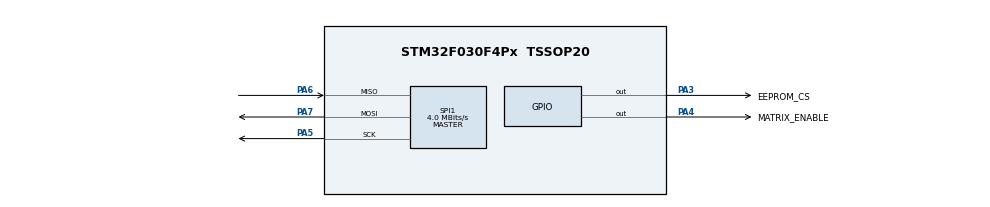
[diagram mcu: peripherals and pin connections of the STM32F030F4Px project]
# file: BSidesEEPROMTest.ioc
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Dma.Request0=SPI1_RX
Dma.Request1=SPI1_TX
Dma.SPI1_RX.0.Direction=DMA_PERIPH_TO_MEMORY
Dma.SPI1_RX.0.Instance=DMA1_Channel2
Dma.SPI1_RX.0.MemDataAlignment=DMA_MDATAALIGN_BYTE
Dma.SPI1_RX.0.MemInc=DMA_MINC_ENABLE
Dma.SPI1_RX.0.Mode=DMA_NORMAL
Dma.SPI1_RX.0.PeriphDataAlignment=DMA_PDATAALIGN_BYTE
Dma.SPI1_RX.0.PeriphInc=DMA_PINC_DISABLE
Dma.SPI1_RX.0.Priority=DMA_PRIORITY_LOW
Dma.SPI1_TX.1.Direction=DMA_MEMORY_TO_PERIPH
Dma.SPI1_TX.1.Instance=DMA1_Channel3
Dma.SPI1_TX.1.MemDataAlignment=DMA_MDATAALIGN_BYTE
Dma.SPI1_TX.1.MemInc=DMA_MINC_ENABLE
Dma.SPI1_TX.1.Mode=DMA_NORMAL
Dma.SPI1_TX.1.PeriphDataAlignment=DMA_PDATAALIGN_BYTE
Dma.SPI1_TX.1.PeriphInc=DMA_PINC_DISABLE
Dma.SPI1_TX.1.Priority=DMA_PRIORITY_LOW
Mcu.Family=STM32F0
Mcu.Name=STM32F030F4Px
Mcu.Package=TSSOP20
NVIC.DMA1_Channel2_3_IRQn=true\:0\:0\:false
PA10.Signal=USART1_RX
PA3.GPIO_Label=EEPROM_CS
PA3.Signal=GPIO_Output
PA4.GPIO_Label=MATRIX_ENABLE
PA4.Signal=GPIO_Output
PA5.Mode=Full_Duplex_Master
PA5.Signal=SPI1_SCK
PA6.Mode=Full_Duplex_Master
PA6.Signal=SPI1_MISO
PA7.Mode=Full_Duplex_Master
PA7.Signal=SPI1_MOSI
PA9.Signal=USART1_TX
ProjectManager.TargetToolchain=MDK-ARM V5
SPI1.CalculateBaudRate=4.0 MBits/s
SPI1.Mode=SPI_MODE_MASTER
board=BSidesEEPROMTest

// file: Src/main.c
/**
  ******************************************************************************
  * File Name          : main.c
  * Description        : Main program body
  ******************************************************************************
  *
  * COPYRIGHT(c) 2016 STMicroelectronics
  *
  * Redistribution and use in source and binary forms, with or without modification,
  * are permitted provided that the following conditions are met:
  *   1. Redistributions of source code must retain the above copyright notice,
  *      this list of conditions and the following disclaimer.
  *   2. Redistributions in binary form must reproduce the above copyright notice,
  *      this list of conditions and the following disclaimer in the documentation
  *      and/or other materials provided with the distribution.
  *   3. Neither the name of STMicroelectronics nor the names of its contributors
  *      may be used to endorse or promote products derived from this software
  *      without specific prior written permission.
  *
  * THIS SOFTWARE IS PROVIDED BY THE COPYRIGHT HOLDERS AND CONTRIBUTORS "AS IS"
  * AND ANY EXPRESS OR IMPLIED WARRANTIES, INCLUDING, BUT NOT LIMITED TO, THE
  * IMPLIED WARRANTIES OF MERCHANTABILITY AND FITNESS FOR A PARTICULAR PURPOSE ARE
  * DISCLAIMED. IN NO EVENT SHALL THE COPYRIGHT HOLDER OR CONTRIBUTORS BE LIABLE
  * FOR ANY DIRECT, INDIRECT, INCIDENTAL, SPECIAL, EXEMPLARY, OR CONSEQUENTIAL
  * DAMAGES (INCLUDING, BUT NOT LIMITED TO, PROCUREMENT OF SUBSTITUTE GOODS OR
  * SERVICES; LOSS OF USE, DATA, OR PROFITS; OR BUSINESS INTERRUPTION) HOWEVER
  * CAUSED AND ON ANY THEORY OF LIABILITY, WHETHER IN CONTRACT, STRICT LIABILITY,
  * OR TORT (INCLUDING NEGLIGENCE OR OTHERWISE) ARISING IN ANY WAY OUT OF THE USE
  * OF THIS SOFTWARE, EVEN IF ADVISED OF THE POSSIBILITY OF SUCH DAMAGE.
  *
  ******************************************************************************
  */
#include "stm32f0xx_hal.h"

/* USER CODE BEGIN Includes */
#include "spi_helper.h"
#include "eeprom.h"
#include "ledmatrix.h"

/* USER CODE END Includes */

SPI_HandleTypeDef hspi1;
DMA_HandleTypeDef hdma_spi1_rx;
DMA_HandleTypeDef hdma_spi1_tx;

/* USER CODE BEGIN PV */
/* Private variables ---------------------------------------------------------*/

/* USER CODE END PV */

void SystemClock_Config(void);
static void MX_GPIO_Init(void);
static void MX_DMA_Init(void);
static void MX_SPI1_Init(void);

/* USER CODE BEGIN PFP */
/* Private function prototypes -----------------------------------------------*/

/* USER CODE END PFP */

/*void doLatch()
{
	//Do Latch
	HAL_GPIO_WritePin(GPIOA, MATRIX_ENABLE_Pin, GPIO_PIN_RESET );
	HAL_GPIO_WritePin(GPIOA, MATRIX_ENABLE_Pin, GPIO_PIN_SET );
}*/

/*void enableEEPROM()
{
	HAL_GPIO_WritePin(GPIOA, EEPROM_CS_Pin, GPIO_PIN_SET );
}

void disableEEPROM()
{
	HAL_GPIO_WritePin(GPIOA, EEPROM_CS_Pin, GPIO_PIN_RESET );
}*/

#define LEFT 0
#define BOTTOM 1
#define RIGHT 2
#define TOP 3
uint16_t value=0;
uint16_t data = 0x38;
uint16_t fieldValue;
int main(void)
{

  /* MCU Configuration----------------------------------------------------------*/

  /* Reset of all peripherals, Initializes the Flash interface and the Systick. */
  HAL_Init();

  /* Configure the system clock */
  SystemClock_Config();

  /* Initialize all configured peripherals */
  MX_GPIO_Init();
  //MX_DMA_Init();
  MX_SPI1_Init();

  /* USER CODE BEGIN 2 */
	//Initialize SPI control
	spiControl.initialize( &hspi1, MX_SPI1_Init );
	//Initialize Led Matrix control
	ledMatrix.initialize( &spiControl, GPIOA, MATRIX_ENABLE_Pin );
	//Clear matrix in case it has some led ON
	ledMatrix.clear();
	//Inititalize EEPROM control
	eeprom.initialize( &spiControl, GPIOA, EEPROM_CS_Pin );

	uint8_t r, c;
	r = 0xff;
	c = 0;
	while( r > 0  ){
		ledMatrix.write( r, ~c );
		HAL_Delay(125);
		r= r << 1;
	}
	r = 0xff;
	while( r > 0  ){
		ledMatrix.write( ~r, ~c );
		HAL_Delay(125);
		r= r >> 1;
	}
	//Make ledMatrix CS down
	ledMatrix.disable();

	HAL_Delay(2);
	// EEPROM TESTING GOUNDS
	uint8_t address = 0x01;

	value = eeprom.readData(address);
	eeprom.enableWrite();
	value = eeprom.readData(address);

	data = 0xFF25;
	eeprom.write( address, data );
	//Try to read that
	HAL_Delay(1);	//why delay, just testing
	value = 3;

	value = eeprom.readData(address);
	//Try to read it again
	value = eeprom.readData(address);
	value = eeprom.readData(address);
	//Enable write function
	eeprom.enableWrite();
	//Write new data to the eeprom
	data = 0xFF62;
	eeprom.write(address, data );

	value = eeprom.readData(address);

	eeprom.enableWrite();
	data = 0x954F;
	eeprom.write(address, data );

	value = eeprom.readData(0x00);
	eeprom.disableChip();

	/* USER CODE END 2 */

  /* Infinite loop */
  /* USER CODE BEGIN WHILE */
	int pos = 0;

	ledMatrix.clear();
	HAL_Delay(100);
	uint8_t xpos = 0;
	uint8_t ypos = 0;
	uint16_t column=0;
	uint16_t row=0;

	pos = 0;
	column=0;
	row=0;

	int loop[] = {LEFT, BOTTOM, RIGHT, TOP};
	int activeSide=0;
	pos = 0;
	int ylimit=7;
	int delay=250;
  while (1)
  {
  /* USER CODE END WHILE */

  /* USER CODE BEGIN 3 */
		//
		if( activeSide==0 && ylimit==7 && xpos==0
				&& ypos==0 ){
			//Fill from top left
			//delay=300;
			pos = 0;
			column=0;
			row=0;
			//Animate matrix filling
			while( pos < 8 ){
				column = column | (1 << pos);
				row = row | (1 << pos);
				pos++;
				ledMatrix.write( ~row, column );
				HAL_Delay(75);
			}
			HAL_Delay(100);
			//blink several times
			delay=250;
			//Blink led matrix increasing speed
			while( delay > 0 ){
				//Turn ON matrix
				ledMatrix.write( 0x00, 0xFF );
				HAL_Delay(delay);
				//Turn OFF matrix
				ledMatrix.clear();
				HAL_Delay(delay);
				delay -=10;
			}
			//No clear little by little the matrix
			pos = 0;
			column=0;
			row=0;
			//Set matrix to same state it was at the end of last animation
			ledMatrix.write( ~row, column );
			//Animate led matrix emptying
			while( pos < 8 ){
				column = column | (1 << pos);
				row = row | (1 << pos);
				pos++;
				ledMatrix.write( row, ~column );
				HAL_Delay(75);
			}
			pos = 0;
			column=0;
			row=0;
		}

		switch( loop[activeSide] ){
			case LEFT:
				row = 1 << ypos;
				row = ~row;
				column = 1 << xpos;
				break;
			case BOTTOM:
				column = 1 << ypos;
				row = 0x80 >> xpos;
				row = ~row;
				break;
			case RIGHT:
				row = 0x80 >> ypos;
				row = ~row;
				column = 0x80 >> xpos;
				break;
			case TOP:
				column = 0x80 >> ypos;
				row = 1 << xpos;
				row = ~row;
				break;
		}

		//Write to matrix
		ledMatrix.write( row, column );
		HAL_Delay(100);

		ypos++;
		if( ypos > ylimit ){
			//time to switch side
			activeSide++;
			if( activeSide == TOP ){
				ylimit--;
			}
			if( activeSide > 3 ){
				activeSide = 0;
				xpos++;
				//ylimit--;
				if( xpos > ylimit ){
					xpos = 1;
				}
				if( ylimit < 1 ){
					ylimit = 7;
					xpos=0;
					activeSide = 0;
				}
			}
			ypos = xpos;
		}
  }
  /* USER CODE END 3 */

	return 0;
}

/** System Clock Configuration
*/
void SystemClock_Config(void)
{

  RCC_OscInitTypeDef RCC_OscInitStruct;
  RCC_ClkInitTypeDef RCC_ClkInitStruct;

  RCC_OscInitStruct.OscillatorType = RCC_OSCILLATORTYPE_HSI;
  RCC_OscInitStruct.HSIState = RCC_HSI_ON;
  RCC_OscInitStruct.HSICalibrationValue = 16;
  RCC_OscInitStruct.PLL.PLLState = RCC_PLL_NONE;
  HAL_RCC_OscConfig(&RCC_OscInitStruct);

  RCC_ClkInitStruct.ClockType = RCC_CLOCKTYPE_SYSCLK;
  RCC_ClkInitStruct.SYSCLKSource = RCC_SYSCLKSOURCE_HSI;
  RCC_ClkInitStruct.AHBCLKDivider = RCC_SYSCLK_DIV1;
  RCC_ClkInitStruct.APB1CLKDivider = RCC_HCLK_DIV1;
  HAL_RCC_ClockConfig(&RCC_ClkInitStruct, FLASH_LATENCY_0);

  HAL_SYSTICK_Config(HAL_RCC_GetHCLKFreq()/1000);

  HAL_SYSTICK_CLKSourceConfig(SYSTICK_CLKSOURCE_HCLK);

  /* SysTick_IRQn interrupt configuration */
  HAL_NVIC_SetPriority(SysTick_IRQn, 0, 0);
}

/* SPI1 init function */
void MX_SPI1_Init(void)
{

  hspi1.Instance = SPI1;
  hspi1.Init.Mode = SPI_MODE_MASTER;
  hspi1.Init.Direction = SPI_DIRECTION_2LINES;
  hspi1.Init.DataSize = SPI_DATASIZE_8BIT;
  hspi1.Init.CLKPolarity = SPI_POLARITY_LOW;
  hspi1.Init.CLKPhase = SPI_PHASE_1EDGE;
  hspi1.Init.NSS = SPI_NSS_SOFT;
  hspi1.Init.BaudRatePrescaler = SPI_BAUDRATEPRESCALER_2;
  hspi1.Init.FirstBit = SPI_FIRSTBIT_MSB;
  hspi1.Init.TIMode = SPI_TIMODE_DISABLED;
  hspi1.Init.CRCCalculation = SPI_CRCCALCULATION_DISABLED;
  hspi1.Init.CRCPolynomial = 7;
  hspi1.Init.CRCLength = SPI_CRC_LENGTH_DATASIZE;
  hspi1.Init.NSSPMode = SPI_NSS_PULSE_ENABLED;
  HAL_SPI_Init(&hspi1);

}

void MX_DMA_Init(void)
{
  /* DMA controller clock enable */
  __DMA1_CLK_ENABLE();

  /* DMA interrupt init */
  HAL_NVIC_SetPriority(DMA1_Channel2_3_IRQn, 0, 0);
  HAL_NVIC_EnableIRQ(DMA1_Channel2_3_IRQn);

}

/** Configure pins as
        * Analog
        * Input
        * Output
        * EVENT_OUT
        * EXTI
     PA9   ------> USART1_TX
     PA10   ------> USART1_RX
*/
void MX_GPIO_Init(void)
{

  GPIO_InitTypeDef GPIO_InitStruct;

  /* GPIO Ports Clock Enable */
  __GPIOA_CLK_ENABLE();

  /*Configure GPIO pins : EEPROM_CS_Pin MATRIX_ENABLE_Pin */
  GPIO_InitStruct.Pin = EEPROM_CS_Pin|MATRIX_ENABLE_Pin;
  GPIO_InitStruct.Mode = GPIO_MODE_OUTPUT_PP;
  GPIO_InitStruct.Pull = GPIO_NOPULL;
  GPIO_InitStruct.Speed = GPIO_SPEED_LOW;
  HAL_GPIO_Init(GPIOA, &GPIO_InitStruct);

  /*Configure GPIO pins : PA9 PA10 */
  GPIO_InitStruct.Pin = GPIO_PIN_9|GPIO_PIN_10;
  GPIO_InitStruct.Mode = GPIO_MODE_AF_PP;
  GPIO_InitStruct.Pull = GPIO_NOPULL;
  GPIO_InitStruct.Speed = GPIO_SPEED_HIGH;
  GPIO_InitStruct.Alternate = GPIO_AF1_USART1;
  HAL_GPIO_Init(GPIOA, &GPIO_InitStruct);

}

/* USER CODE BEGIN 4 */

/**
  * @brief SPI error treatment function
  * @param None
  * @retval None
  */

/* USER CODE END 4 */

/************************ (C) COPYRIGHT STMicroelectronics *****END OF FILE****/
